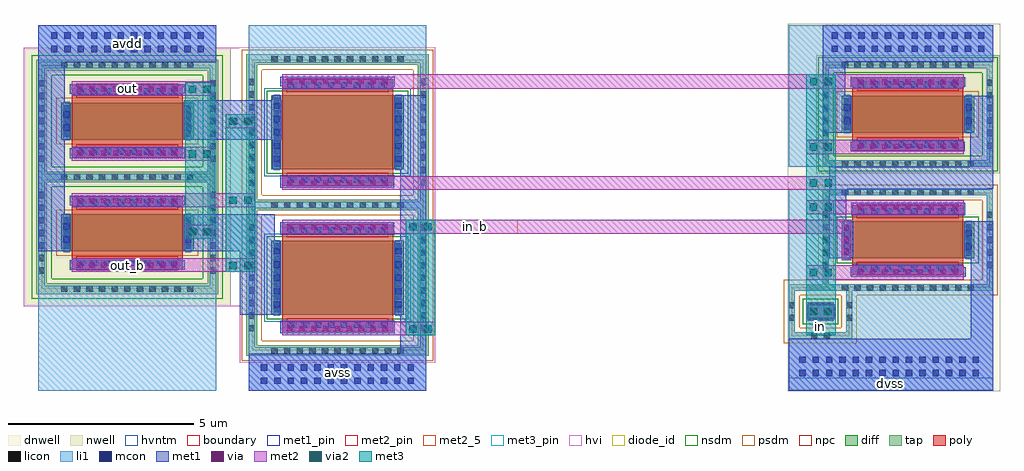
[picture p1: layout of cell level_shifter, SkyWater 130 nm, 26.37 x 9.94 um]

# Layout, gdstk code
from math import pi, radians
import gdstk
lib = gdstk.Library(unit=1e-6, precision=1e-09)
def R(c, l, rs):  # rectangles x0, y0, x1, y1
    for r in rs: c.add(gdstk.rectangle(r[:2], r[2:], *l))
def A(c, l, x, y, w, h, nx, ny, dx, dy):  # array of equal rectangles
    R(c, l, [(x+i*dx, y+j*dy, x+i*dx+w, y+j*dy+h) for i in range(nx) for j in range(ny)])
dnwell = (64, 18)
nwell = (64, 20)
diff = (65, 20)
tap = (65, 44)
poly = (66, 20)
licon = (66, 44)
li1 = (67, 20)
mcon = (67, 44)
met1_pin = (68, 16)
met1 = (68, 20)
via = (68, 44)
met2_5 = (69, 5)
met2_pin = (69, 16)
met2 = (69, 20)
via2 = (69, 44)
met3_pin = (70, 16)
met3 = (70, 20)
hvi = (75, 20)
diode_id = (81, 23)
nsdm = (93, 44)
psdm = (94, 20)
npc = (95, 20)
hvntm = (125, 20)
boundary = (235, 4)

sky130_fd_pr__pfet_g5v0d = lib.new_cell('sky130_fd_pr__pfet_g5v0d10v5_YHAZV5')
R(sky130_fd_pr__pfet_g5v0d, nwell, [(-2.79,-1.985,2.79,1.985)])
R(sky130_fd_pr__pfet_g5v0d, diff, [(-1.79,-0.5,1.79,0.5)])
R(sky130_fd_pr__pfet_g5v0d, tap, [(-2.46,-1.655,2.46,-1.365), (-2.46,-1.365,-2.17,1.365), (2.17,-1.365,2.46,1.365), (-2.46,1.365,2.46,1.655)])
R(sky130_fd_pr__pfet_g5v0d, poly, [(-1.5,-0.985,1.5,0.985)])
A(sky130_fd_pr__pfet_g5v0d, licon, -1.785, -1.595, 0.17, 0.17, 11, 2, 0.34, 3.02)
A(sky130_fd_pr__pfet_g5v0d, licon, -2.4, -1.105, 0.17, 0.17, 1, 7, 0, 0.34)
A(sky130_fd_pr__pfet_g5v0d, licon, 2.23, -1.105, 0.17, 0.17, 1, 7, 0, 0.34)
A(sky130_fd_pr__pfet_g5v0d, licon, -1.275, -0.905, 0.17, 0.17, 8, 2, 0.34, 1.64)
A(sky130_fd_pr__pfet_g5v0d, licon, -1.73, -0.425, 0.17, 0.17, 1, 3, 0, 0.34)
A(sky130_fd_pr__pfet_g5v0d, licon, 1.56, -0.425, 0.17, 0.17, 1, 3, 0, 0.34)
R(sky130_fd_pr__pfet_g5v0d, li1, [(-2.4,-1.595,2.4,-1.425), (-2.4,-1.425,-2.23,1.425), (2.23,-1.425,2.4,1.425), (-1.5,-0.905,1.5,-0.735), (-1.73,-0.52,-1.56,0.52), (1.56,-0.52,1.73,0.52), (-1.5,0.735,1.5,0.905), (-2.4,1.425,2.4,1.595)])
A(sky130_fd_pr__pfet_g5v0d, mcon, -1.345, -0.905, 0.17, 0.17, 8, 2, 0.36, 1.64)
R(sky130_fd_pr__pfet_g5v0d, mcon, [(-1.73,-0.265,-1.56,-0.095), (1.56,-0.265,1.73,-0.095), (-1.73,0.095,-1.56,0.265), (1.56,0.095,1.73,0.265)])
R(sky130_fd_pr__pfet_g5v0d, met1, [(-1.48,-0.935,1.48,-0.705), (-1.76,-0.5,-1.53,0.5), (1.53,-0.5,1.76,0.5), (-1.48,0.705,1.48,0.935)])
R(sky130_fd_pr__pfet_g5v0d, hvi, [(-2.79,-1.985,2.79,1.985)])
R(sky130_fd_pr__pfet_g5v0d, nsdm, [(-2.585,-1.78,2.585,-1.24), (-2.585,-1.24,-2.045,1.24), (2.045,-1.24,2.585,1.24), (-2.585,1.24,2.585,1.78)])
R(sky130_fd_pr__pfet_g5v0d, psdm, [(-1.915,-0.625,1.915,0.625)])
R(sky130_fd_pr__pfet_g5v0d, npc, [(-1.375,-1.005,1.375,-0.635), (-1.375,0.635,1.375,1.005)])
R(sky130_fd_pr__pfet_g5v0d, boundary, [(-2.315,-1.51,2.315,1.51)])

sky130_fd_pr__pfet_01v8_ = lib.new_cell('sky130_fd_pr__pfet_01v8_J2L9Q3')
R(sky130_fd_pr__pfet_01v8_, nwell, [(-2.48,-1.595,2.48,1.595)])
R(sky130_fd_pr__pfet_01v8_, diff, [(-1.79,-0.5,1.79,0.5)])
R(sky130_fd_pr__pfet_01v8_, tap, [(-2.3,-1.415,2.3,-1.245), (-2.3,-1.245,-2.13,1.245), (2.13,-1.245,2.3,1.245), (-2.3,1.245,2.3,1.415)])
R(sky130_fd_pr__pfet_01v8_, poly, [(-1.5,-0.985,1.5,0.985)])
A(sky130_fd_pr__pfet_01v8_, licon, -1.785, -1.415, 0.17, 0.17, 11, 2, 0.34, 2.66)
A(sky130_fd_pr__pfet_01v8_, licon, -2.3, -0.935, 0.17, 0.17, 1, 6, 0, 0.34)
A(sky130_fd_pr__pfet_01v8_, licon, 2.13, -0.935, 0.17, 0.17, 1, 6, 0, 0.34)
A(sky130_fd_pr__pfet_01v8_, licon, -1.275, -0.905, 0.17, 0.17, 8, 2, 0.34, 1.64)
A(sky130_fd_pr__pfet_01v8_, licon, -1.73, -0.425, 0.17, 0.17, 1, 3, 0, 0.34)
A(sky130_fd_pr__pfet_01v8_, licon, 1.56, -0.425, 0.17, 0.17, 1, 3, 0, 0.34)
R(sky130_fd_pr__pfet_01v8_, li1, [(-2.3,-1.415,2.3,-1.245), (-2.3,-1.245,-2.13,1.245), (2.13,-1.245,2.3,1.245), (-1.5,-0.905,1.5,-0.735), (-1.73,-0.52,-1.56,0.52), (1.56,-0.52,1.73,0.52), (-1.5,0.735,1.5,0.905), (-2.3,1.245,2.3,1.415)])
A(sky130_fd_pr__pfet_01v8_, mcon, -1.345, -0.905, 0.17, 0.17, 8, 2, 0.36, 1.64)
R(sky130_fd_pr__pfet_01v8_, mcon, [(-1.73,-0.265,-1.56,-0.095), (1.56,-0.265,1.73,-0.095), (-1.73,0.095,-1.56,0.265), (1.56,0.095,1.73,0.265)])
R(sky130_fd_pr__pfet_01v8_, met1, [(-1.48,-0.935,1.48,-0.705), (-1.76,-0.5,-1.53,0.5), (1.53,-0.5,1.76,0.5), (-1.48,0.705,1.48,0.935)])
R(sky130_fd_pr__pfet_01v8_, nsdm, [(-2.425,-1.54,2.425,-1.12), (-2.425,-1.12,-2.005,1.12), (2.005,-1.12,2.425,1.12), (-2.425,1.12,2.425,1.54)])
R(sky130_fd_pr__pfet_01v8_, psdm, [(-1.915,-0.625,1.915,0.625)])
R(sky130_fd_pr__pfet_01v8_, npc, [(-1.375,-1.005,1.375,-0.635), (-1.375,0.635,1.375,1.005)])
R(sky130_fd_pr__pfet_01v8_, boundary, [(-2.215,-1.33,2.215,1.33)])

sky130_fd_pr__nfet_g5v0d = lib.new_cell('sky130_fd_pr__nfet_g5v0d10v5_EEVBR7')
R(sky130_fd_pr__nfet_g5v0d, diff, [(-1.79,-1,1.79,1)])
R(sky130_fd_pr__nfet_g5v0d, tap, [(-2.46,-2.11,2.46,-1.82), (-2.46,-1.82,-2.17,1.82), (2.17,-1.82,2.46,1.82), (-2.46,1.82,2.46,2.11)])
R(sky130_fd_pr__nfet_g5v0d, poly, [(-1.5,-1.44,1.5,1.44)])
A(sky130_fd_pr__nfet_g5v0d, licon, -1.785, -2.05, 0.17, 0.17, 11, 2, 0.34, 3.93)
A(sky130_fd_pr__nfet_g5v0d, licon, -2.4, -1.445, 0.17, 0.17, 1, 9, 0, 0.34)
A(sky130_fd_pr__nfet_g5v0d, licon, 2.23, -1.445, 0.17, 0.17, 1, 9, 0, 0.34)
A(sky130_fd_pr__nfet_g5v0d, licon, -1.275, -1.36, 0.17, 0.17, 8, 2, 0.34, 2.55)
A(sky130_fd_pr__nfet_g5v0d, licon, -1.73, -0.935, 0.17, 0.17, 1, 6, 0, 0.34)
A(sky130_fd_pr__nfet_g5v0d, licon, 1.56, -0.935, 0.17, 0.17, 1, 6, 0, 0.34)
R(sky130_fd_pr__nfet_g5v0d, li1, [(-2.4,-2.05,2.4,-1.88), (-2.4,-1.88,-2.23,1.88), (2.23,-1.88,2.4,1.88), (-1.5,-1.36,1.5,-1.19), (-1.73,-1.02,-1.56,1.02), (1.56,-1.02,1.73,1.02), (-1.5,1.19,1.5,1.36), (-2.4,1.88,2.4,2.05)])
A(sky130_fd_pr__nfet_g5v0d, mcon, -1.345, -1.36, 0.17, 0.17, 8, 2, 0.36, 2.55)
A(sky130_fd_pr__nfet_g5v0d, mcon, -1.73, -0.805, 0.17, 0.17, 1, 5, 0, 0.36)
A(sky130_fd_pr__nfet_g5v0d, mcon, 1.56, -0.805, 0.17, 0.17, 1, 5, 0, 0.36)
R(sky130_fd_pr__nfet_g5v0d, met1, [(-1.48,-1.39,1.48,-1.16), (-1.76,-1,-1.53,1), (1.53,-1,1.76,1), (-1.48,1.16,1.48,1.39)])
R(sky130_fd_pr__nfet_g5v0d, hvi, [(-2.645,-2.295,2.645,2.295)])
R(sky130_fd_pr__nfet_g5v0d, nsdm, [(-1.915,-1.125,1.915,1.125)])
R(sky130_fd_pr__nfet_g5v0d, psdm, [(-2.585,-2.235,2.585,-1.695), (-2.585,-1.695,-2.045,1.695), (2.045,-1.695,2.585,1.695), (-2.585,1.695,2.585,2.235)])
R(sky130_fd_pr__nfet_g5v0d, npc, [(-1.375,-1.46,1.375,-1.09), (-1.375,1.09,1.375,1.46)])
R(sky130_fd_pr__nfet_g5v0d, hvntm, [(-1.975,-1.185,1.975,1.185)])
R(sky130_fd_pr__nfet_g5v0d, boundary, [(-2.31,-1.96,2.31,1.96)])

sky130_fd_pr__nfet_01v8_ = lib.new_cell('sky130_fd_pr__nfet_01v8_MG6U6H')
R(sky130_fd_pr__nfet_01v8_, diff, [(-1.79,-0.5,1.79,0.5)])
R(sky130_fd_pr__nfet_01v8_, tap, [(-2.3,-1.37,2.3,-1.2), (-2.3,-1.2,-2.13,1.2), (2.13,-1.2,2.3,1.2), (-2.3,1.2,2.3,1.37)])
R(sky130_fd_pr__nfet_01v8_, poly, [(-1.5,-0.94,1.5,0.94)])
A(sky130_fd_pr__nfet_01v8_, licon, -1.785, -1.37, 0.17, 0.17, 11, 2, 0.34, 2.57)
A(sky130_fd_pr__nfet_01v8_, licon, -1.275, -0.86, 0.17, 0.17, 8, 2, 0.34, 1.55)
A(sky130_fd_pr__nfet_01v8_, licon, -2.3, -0.765, 0.17, 0.17, 1, 5, 0, 0.34)
A(sky130_fd_pr__nfet_01v8_, licon, 2.13, -0.765, 0.17, 0.17, 1, 5, 0, 0.34)
A(sky130_fd_pr__nfet_01v8_, licon, -1.73, -0.425, 0.17, 0.17, 1, 3, 0, 0.34)
A(sky130_fd_pr__nfet_01v8_, licon, 1.56, -0.425, 0.17, 0.17, 1, 3, 0, 0.34)
R(sky130_fd_pr__nfet_01v8_, li1, [(-2.3,-1.37,2.3,-1.2), (-2.3,-1.2,-2.13,1.2), (2.13,-1.2,2.3,1.2), (-1.5,-0.86,1.5,-0.69), (-1.73,-0.52,-1.56,0.52), (1.56,-0.52,1.73,0.52), (-1.5,0.69,1.5,0.86), (-2.3,1.2,2.3,1.37)])
A(sky130_fd_pr__nfet_01v8_, mcon, -1.345, -0.86, 0.17, 0.17, 8, 2, 0.36, 1.55)
R(sky130_fd_pr__nfet_01v8_, mcon, [(-1.73,-0.265,-1.56,-0.095), (1.56,-0.265,1.73,-0.095), (-1.73,0.095,-1.56,0.265), (1.56,0.095,1.73,0.265)])
R(sky130_fd_pr__nfet_01v8_, met1, [(-1.48,-0.89,1.48,-0.66), (-1.76,-0.5,-1.53,0.5), (1.53,-0.5,1.76,0.5), (-1.48,0.66,1.48,0.89)])
R(sky130_fd_pr__nfet_01v8_, nsdm, [(-1.915,-0.625,1.915,0.625)])
R(sky130_fd_pr__nfet_01v8_, psdm, [(-2.425,-1.495,2.425,-1.075), (-2.425,-1.075,-2.005,1.075), (2.005,-1.075,2.425,1.075), (-2.425,1.075,2.425,1.495)])
R(sky130_fd_pr__nfet_01v8_, npc, [(-1.375,-0.96,1.375,-0.59), (-1.375,0.59,1.375,0.96)])
R(sky130_fd_pr__nfet_01v8_, boundary, [(-2.21,-1.28,2.21,1.28)])

sky130_fd_pr__diode_pw2n = lib.new_cell('sky130_fd_pr__diode_pw2nd_05v5_37RBXE')
R(sky130_fd_pr__diode_pw2n, diff, [(-0.225,-0.35,0.225,0.35)])
R(sky130_fd_pr__diode_pw2n, tap, [(-0.735,-0.86,0.735,-0.69), (-0.735,-0.69,-0.565,0.69), (0.565,-0.69,0.735,0.69), (-0.735,0.69,0.735,0.86)])
R(sky130_fd_pr__diode_pw2n, licon, [(-0.255,-0.86,-0.085,-0.69), (0.085,-0.86,0.255,-0.69), (-0.085,-0.255,0.085,-0.085), (0.565,-0.255,0.735,-0.085), (-0.085,0.085,0.085,0.255), (0.565,0.085,0.735,0.255), (-0.255,0.69,-0.085,0.86), (0.085,0.69,0.255,0.86)])
R(sky130_fd_pr__diode_pw2n, li1, [(-0.735,-0.86,0.735,-0.69), (-0.735,-0.69,-0.565,0.69), (0.565,-0.69,0.735,0.69), (-0.165,-0.37,0.165,0.37), (-0.735,0.69,0.735,0.86)])
R(sky130_fd_pr__diode_pw2n, mcon, [(-0.085,-0.265,0.085,-0.095), (-0.085,0.095,0.085,0.265)])
R(sky130_fd_pr__diode_pw2n, met1, [(-0.195,-0.35,0.195,0.35)])
R(sky130_fd_pr__diode_pw2n, diode_id, [(-0.225,-0.35,0.225,0.35)])
R(sky130_fd_pr__diode_pw2n, nsdm, [(-0.35,-0.475,0.35,0.475)])
R(sky130_fd_pr__diode_pw2n, psdm, [(-0.86,-0.985,0.86,-0.565), (-0.86,-0.565,-0.44,0.565), (0.44,-0.565,0.86,0.565), (-0.86,0.565,0.86,0.985)])
R(sky130_fd_pr__diode_pw2n, boundary, [(-0.65,-0.775,0.65,0.775)])

level_shifter = lib.new_cell('level_shifter')
R(level_shifter, dnwell, [(26.155,-11.595,31.89,-1.655)])
R(level_shifter, li1, [(5.915,-11.57,10.715,-8.905), (11.595,-11.57,16.395,-10.575), (26.185,-11.57,31.705,-10.17), (27.77,-10.17,31.705,-8.87), (26.185,-8.7,27.105,-6.13), (26.19,-5.52,27.105,-2.69), (5.915,-2.695,10.715,-1.7), (26.19,-2.69,31.705,-1.7), (11.595,-2.545,16.395,-1.7)])
A(level_shifter, mcon, 11.925, -11.39, 0.17, 0.17, 12, 2, 0.36, 0.36)
A(level_shifter, mcon, 26.47, -11.18, 0.17, 0.17, 14, 2, 0.36, 0.36)
A(level_shifter, mcon, 6.255, -2.425, 0.17, 0.17, 12, 2, 0.36, 0.36)
A(level_shifter, mcon, 27.34, -2.42, 0.17, 0.17, 12, 2, 0.36, 0.36)
R(level_shifter, met1_pin, [(11.595,-11.57,16.395,-10.575), (26.185,-11.565,31.705,-11.22), (5.915,-2.695,10.715,-1.7)])
R(level_shifter, met1, [(11.595,-11.57,16.395,-10.575), (26.185,-11.57,31.705,-10.17), (15.685,-10.575,16.395,-3.59), (31.1,-10.17,31.705,-8), (12.445,-10.025,15.545,-9.685), (26.65,-9.63,27.445,-9.24), (11.355,-9.525,12.465,-7.81), (27.855,-8.5,30.96,-8.24), (6.765,-8.31,9.865,-8.05), (27.275,-8,27.87,-7.995), (30.935,-8,31.705,-7), (27.275,-7.995,27.925,-7), (5.915,-7.81,6.785,-6.81), (9.845,-7.81,12.305,-6.81), (12.31,-7.81,12.465,-7.525), (12.445,-7.365,12.52,-7.285), (15.475,-7.365,15.525,-7.285), (12.445,-7.285,15.525,-7.025), (27.275,-7,27.73,-6.13), (27.87,-6.84,30.955,-6.5), (5.915,-6.81,6.625,-4.795), (6.765,-6.57,9.865,-6.31), (27.275,-6.13,31.535,-6.125), (27.275,-6.125,31.705,-5.52), (12.445,-6.095,15.525,-5.835), (12.445,-5.835,12.525,-5.755), (15.475,-5.835,15.525,-5.755), (31.08,-5.52,31.705,-4.605), (6.765,-5.29,9.865,-5.03), (27.855,-5.105,30.94,-4.845), (5.915,-4.795,6.785,-3.79), (9.845,-4.79,12.47,-3.73), (27.105,-4.605,27.875,-3.605), (30.935,-4.605,31.705,-3.605), (5.915,-3.79,6.625,-2.695), (27.105,-3.605,27.715,-2.69), (6.765,-3.55,9.865,-3.29), (27.855,-3.365,30.955,-3.105), (12.445,-3.35,15.545,-3.09), (5.915,-2.695,10.715,-1.7), (27.105,-2.69,31.705,-1.7)])
A(level_shifter, via, 12.64, -9.97, 0.15, 0.15, 9, 2, 0.32, 2.74)
A(level_shifter, via, 28.05, -8.445, 0.15, 0.15, 9, 2, 0.32, 3.395)
A(level_shifter, via, 6.96, -8.255, 0.15, 0.15, 9, 2, 0.32, 1.74)
A(level_shifter, via, 27.67, -7.895, 0.15, 0.15, 1, 3, 0, 0.32)
A(level_shifter, via, 28.045, -6.705, 0.15, 0.15, 9, 1, 0.32, 0)
A(level_shifter, via, 12.64, -6.04, 0.15, 0.15, 9, 2, 0.32, 2.745)
A(level_shifter, via, 6.96, -5.235, 0.15, 0.15, 9, 2, 0.32, 1.74)
A(level_shifter, via, 28.05, -3.31, 0.15, 0.15, 9, 1, 0.32, 0)
R(level_shifter, via, [(26.81,-9.51,26.96,-9.36), (27.13,-9.51,27.28,-9.36), (10.04,-7.355,10.19,-7.205), (10.36,-7.355,10.51,-7.205), (11.14,-4.37,11.29,-4.22), (11.46,-4.37,11.61,-4.22)])
R(level_shifter, met2_5, [(16.585,-7.335,18.865,-6.95)])
R(level_shifter, met2_pin, [(6.815,-8.31,9.815,-8.05), (6.815,-3.55,9.815,-3.29)])
R(level_shifter, met2, [(12.495,-10.075,16.635,-9.715), (26.695,-9.68,27.395,-9.19), (26.65,-8.575,30.91,-8.19), (6.815,-8.36,11.775,-8), (27.615,-8.045,27.875,-7.335), (9.875,-7.47,10.675,-7.085), (12.495,-7.335,27.875,-6.95), (26.65,-6.81,30.905,-6.425), (6.815,-6.62,11.775,-6.235), (12.495,-6.145,27.45,-5.785), (6.815,-5.365,10.625,-5.34), (6.815,-5.34,10.675,-4.98), (26.65,-5.18,30.905,-4.795), (10.975,-4.485,11.775,-4.1), (6.815,-3.6,10.675,-3.215), (12.495,-3.415,30.905,-3.03)])
R(level_shifter, via2, [(15.935,-10.005,16.135,-9.805), (16.335,-10.005,16.535,-9.805), (26.745,-9.535,26.945,-9.335), (27.145,-9.535,27.345,-9.335), (26.75,-8.485,26.95,-8.285), (27.15,-8.485,27.35,-8.285), (11.075,-8.295,11.275,-8.095), (11.475,-8.295,11.675,-8.095), (9.975,-7.38,10.175,-7.18), (10.375,-7.38,10.575,-7.18), (15.935,-7.245,16.135,-7.045), (16.335,-7.245,16.535,-7.045), (26.75,-6.715,26.95,-6.515), (27.15,-6.715,27.35,-6.515), (11.075,-6.53,11.275,-6.33), (11.475,-6.53,11.675,-6.33), (26.75,-6.065,26.95,-5.865), (27.15,-6.065,27.35,-5.865), (9.975,-5.275,10.175,-5.075), (10.375,-5.275,10.575,-5.075), (26.75,-5.09,26.95,-4.89), (27.15,-5.09,27.35,-4.89), (11.075,-4.395,11.275,-4.195), (11.475,-4.395,11.675,-4.195), (9.975,-3.53,10.175,-3.33), (10.375,-3.53,10.575,-3.33), (26.76,-3.325,26.96,-3.125), (27.16,-3.325,27.36,-3.125)])
R(level_shifter, met3_pin, [(26.65,-10.075,27.455,-9.63)])
R(level_shifter, met3, [(26.65,-10.075,27.455,-3.03), (15.835,-10.07,16.635,-6.95), (10.975,-8.36,11.775,-4.1), (9.875,-7.47,10.675,-3.24)])
R(level_shifter, hvi, [(11.105,-9.295,11.35,-2.305)])
level_shifter.add(gdstk.Reference(sky130_fd_pr__pfet_g5v0d, (8.315,-4.29), x_reflection=True))
level_shifter.add(gdstk.Reference(sky130_fd_pr__pfet_g5v0d, (8.315,-7.31), x_reflection=True))
level_shifter.add(gdstk.Reference(sky130_fd_pr__pfet_01v8_, (29.4,-4.105)))
level_shifter.add(gdstk.Reference(sky130_fd_pr__nfet_g5v0d, (13.995,-4.595), rotation=pi, x_reflection=True))
level_shifter.add(gdstk.Reference(sky130_fd_pr__nfet_g5v0d, (13.995,-8.525), rotation=pi, x_reflection=True))
level_shifter.add(gdstk.Reference(sky130_fd_pr__nfet_01v8_, (29.4,-7.5)))
level_shifter.add(gdstk.Reference(sky130_fd_pr__diode_pw2n, (27.04,-9.435), rotation=3*pi/2))
level_shifter.add(gdstk.Label('in_b', (17.725,-7.142), layer=69, texttype=5))
level_shifter.add(gdstk.Label('avdd', (8.315,-2.197), layer=68, texttype=5))
level_shifter.add(gdstk.Label('in', (27.052,-9.852), layer=70, texttype=5))
level_shifter.add(gdstk.Label('out', (8.315,-3.42), layer=69, texttype=5))
level_shifter.add(gdstk.Label('out_b', (8.315,-8.18), layer=69, texttype=5))
level_shifter.add(gdstk.Label('avss', (13.995,-11.072), layer=68, texttype=5))
level_shifter.add(gdstk.Label('dvss', (28.945,-11.392), layer=68, texttype=5))

lib.write_gds('level_shifter.gds')
